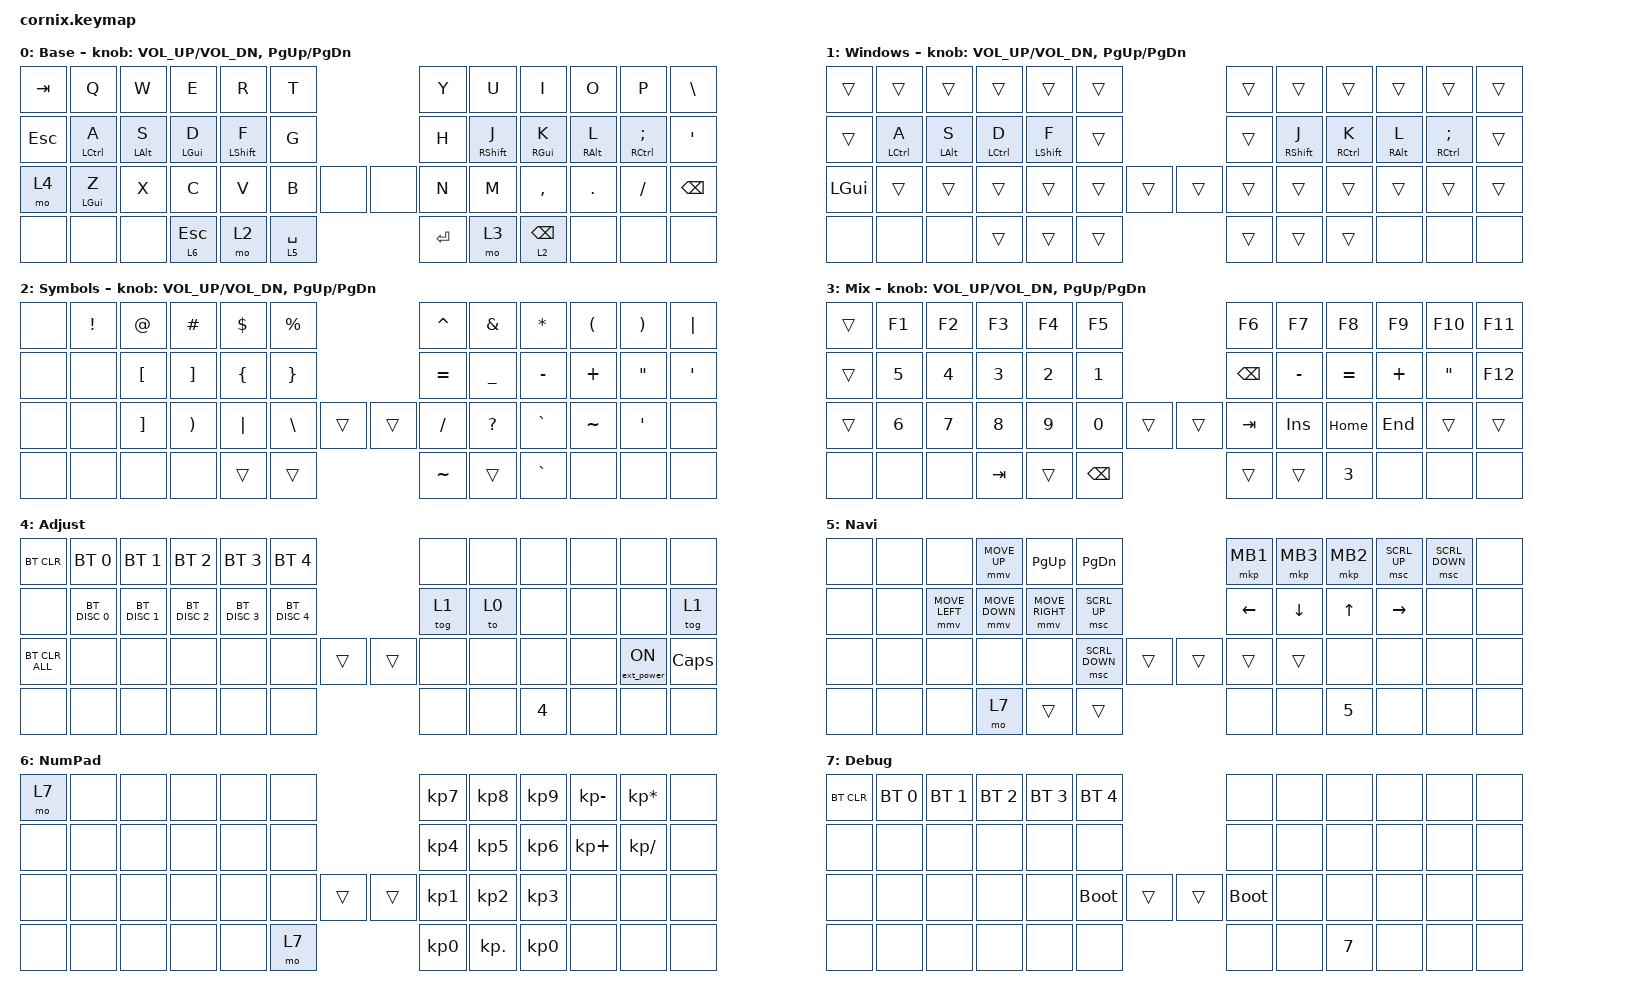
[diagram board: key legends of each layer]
/*
 * Copyright (c) 2020 The ZMK Contributors
 *
 * SPDX-License-Identifier: MIT
 */

#include "zmk-helpers/helper.h"
#include "includes/cornix54.h"
#include <behaviors.dtsi>
#include <dt-bindings/zmk/bt.h>
#include <dt-bindings/zmk/keys.h>
#include <dt-bindings/zmk/pointing.h>


// tap windows for ctl alt and gui

#define HM_TAPPING_TERM 250
#define HM_TAPPING_REPEAT 210

// quick tapping for shift

#define HM_TAPPING_TERM_FAST 200
#define HM_PRIOR_IDLE 70
#define BASE 0
#define WIN 1
#define LOWER 2
#define RAISE 3
#define ADJUST 4
#define NAVI   5
#define NUM    6
#define DEBUG  7

// https://github.com/urob/zmk-config/tree/main#timeless-homerow-mods

#define KEYS_L LT0 LT1 LT2 LT3 LT4 LT5 LM0 LM1 LM2 LM3 LM4 LM5 LB0 LB1 LB2 LB3 LB4 LB5  // left hand
#define KEYS_R RT0 RT1 RT2 RT3 RT4 RT5 RM0 RM1 RM2 RM3 RM4 RM5 RB0 RB1 RB2 RB3 RB4 RB5  // right hand
#define THUMBS LH1 LH0 RH0 RH1
#define KEYS_T LH1 LH0 RH0 RH1
#define ZMK_POINTING_DEFAULT_SCRL_VAL 15

#include <behaviors.dtsi>
#include <dt-bindings/zmk/bt.h>
#include <dt-bindings/zmk/ext_power.h>
#include <dt-bindings/zmk/keys.h>
#include <dt-bindings/zmk/pointing.h>

/ {
    // Activate ADJUST layer by pressing raise and lower

    behaviors {
        scroll_vertical: scroll_vertical {
            compatible = "zmk,behavior-sensor-rotate";
            #sensor-binding-cells = <0>;
            bindings = <&msc SCRL_UP>,
                       <&msc SCRL_DOWN>;
        };
        
        scroll_horizontal: scroll_horizontal {
            compatible = "zmk,behavior-sensor-rotate";
            #sensor-binding-cells = <0>;
            bindings = <&msc SCRL_RIGHT>,
                       <&msc SCRL_LEFT>;
        };

        hm_l: homerow_mods_left {
            compatible = "zmk,behavior-hold-tap";
            #binding-cells = <2>;
            bindings = <&kp>, <&kp>;

            flavor = "balanced";
            tapping-term-ms = <HM_TAPPING_TERM>;
            quick-tap-ms = <200>;                // repeat on tap-into-hold
            require-prior-idle-ms = <HM_PRIOR_IDLE>;
            hold-trigger-key-positions = <KEYS_R KEYS_T>;
            hold-trigger-on-release;
        };

        hm_r: homerow_mods_right {
            compatible = "zmk,behavior-hold-tap";
            #binding-cells = <2>;
            bindings = <&kp>, <&kp>;

            flavor = "balanced";
            tapping-term-ms = <HM_TAPPING_TERM>;
            quick-tap-ms = <200>;
            require-prior-idle-ms = <HM_PRIOR_IDLE>;
            hold-trigger-key-positions = <KEYS_L KEYS_T>;
            hold-trigger-on-release;
        };

        // Positional Homerow mods for shift
        // Use faster tapping term and disable some features that may
        // cause false negatives.

        hm_shift_l: hm_shift_l {
            compatible = "zmk,behavior-hold-tap";
            #binding-cells = <2>;
            bindings = <&kp>, <&kp>;

            //flavor = "balanced";

            flavor = "balanced";
            tapping-term-ms = <HM_TAPPING_TERM_FAST>;
            quick-tap-ms = <200>;
            require-prior-idle-ms = <HM_PRIOR_IDLE>;
            hold-trigger-key-positions = <KEYS_R KEYS_T>;
            hold-trigger-on-release;
        };

        hm_shift_r: hm_shift_r {
            compatible = "zmk,behavior-hold-tap";
            #binding-cells = <2>;
            bindings = <&kp>, <&kp>;

            flavor = "balanced";
            tapping-term-ms = <HM_TAPPING_TERM_FAST>;
            quick-tap-ms = <200>;
            require-prior-idle-ms = <HM_PRIOR_IDLE>;
            hold-trigger-key-positions = <KEYS_L KEYS_T>;

            // for quick tapping; shift+~

            hold-trigger-on-release;
        };

        /*
         * Non-Positional Homerow Mods
         * Used for &mm_grescm_gui behavior on left hand.
         *
         * Usage: &hm LSHFT T
         * Tap: T
         * Tap-Tap-Hold: Repeat T
         * Hold: LSHIFT
         */

        hm: homerow_mods {
            compatible = "zmk,behavior-hold-tap";
            #binding-cells = <2>;
            bindings = <&kp>, <&kp>;

            flavor = "balanced";
            tapping-term-ms = <HM_TAPPING_TERM>;
            quick-tap-ms = <200>;
        };

        lt: layer_tap {
            compatible = "zmk,behavior-hold-tap";
            #binding-cells = <2>;
            bindings = <&mo>, <&kp>;

            flavor = "hold-preferred";
            tapping-term-ms = <HM_TAPPING_TERM>;
            quick-tap-ms = <200>;
        };
    };

    conditional_layers {
        compatible = "zmk,conditional-layers";

        adjust_layer {
            if-layers = <3 2>;
            then-layer = <4>;
        };
    };

    combos {
        compatible = "zmk,combos";

       
        combo_tab_q_esc {
            timeout-ms = <30>;
            key-positions = <0 1>;
            bindings = <&kp ESC>;
            layers = <0>;
        };

        combo_p_bsp_del {
            timeout-ms = <30>;
            key-positions = <10 11>;
            bindings = <&kp DEL>;
            layers = <0>;
        };

        combo_z_x_undo {
            timeout-ms = <30>;
            key-positions = <25 26>;
            bindings = <&kp LC(Z)>;
            layers = <0>;
        };

        combo_x_c_copy {
            timeout-ms = <30>;
            key-positions = <26 27>;
            bindings = <&kp LC(C)>;
            layers = <0>;
        };

        combo_c_v_paste {
            timeout-ms = <30>;
            key-positions = <27 28>;
            bindings = <&kp LC(V)>;
            layers = <0>;
        };

         
        combo_home {
            timeout-ms = <30>;
            key-positions = <19 20>;
            bindings = <&kp HOME>;
            layers = <0>;
        };
        
        combo_end {
            timeout-ms = <30>;
            key-positions = <20 21>;
            bindings = <&kp END>;
            layers = <0>;
        };

       

        combo_semi_quote_pgup {
            timeout-ms = <30>;
            key-positions = <22 23>;
            bindings = <&kp PG_UP>;
            layers = <0>;
        };

        combo_slash_rshift_pgdn {
            timeout-ms = <30>;
            key-positions = <36 37>;
            bindings = <&kp PG_DN>;
            layers = <0>;
        };


        // . + / → Browser Back
        combo_dot_slash_back {
            timeout-ms = <30>;
            key-positions = <35 36>;
            bindings = <&mkp MB4>;
            layers = <0>;
        };

        // L + ; → Browser Forward
        combo_l_semi_forward {
            timeout-ms = <30>;
            key-positions = <21 22>;
            bindings = <&mkp MB5>;
            layers = <0>;
        };


    };

    keymap {
        compatible = "zmk,keymap";

        default_layer {
            display-name = "Base";

            // ------------------------------------------------------------------------------------------------------------
            // |   `   |  1  |  2  |  3   |  4   |  5   |                   |  6   |  7    |  8    |  9   |   0   |       |
            // |  ESC  |  Q  |  W  |  E   |  R   |  T   |                   |  Y   |  U    |  I    |  O   |   P   | BKSPC |
            // |  TAB  |  A  |  S  |  D   |  F   |  G   |                   |  H   |  J    |  K    |  L   |   ;   |   '   |
            // | SHIFT |  Z  |  X  |  C   |  V   |  B   |  MUTE  |  |       |  N   |  M    |  ,    |  .   |   /   | SHIFT |
            //               | GUI | ALT  | CTRL | LOWER|  ENTER |  | SPACE | RAISE| CTRL  | ALT   | GUI  |

            bindings = <
&kp TAB  &kp Q          &kp W         &kp E         &kp R                &kp T                      &kp Y      &kp U                &kp I            &kp O         &kp P             &kp BSLH
&kp ESC  &hm_l LCTRL A  &hm_l LALT S  &hm_l LGUI D  &hm_shift_l LSHFT F  &kp G                      &kp H      &hm_shift_r RSHFT J  &hm_r RGUI K     &hm_r RALT L  &hm_r RCTRL SEMI  &kp SQT
&mo 4    &hm_l LGUI Z   &kp X         &kp C         &kp V                &kp B        &none  &none  &kp N      &kp M                &kp COMMA        &kp DOT       &kp FSLH          &kp BACKSPACE
&none    &none          &none         &lt 6 ESCAPE  &mo 2                &lt 5 SPACE                &kp ENTER  &mo 3                &lt 2 BACKSPACE  &none         &none             &none
            >;
          sensor-bindings = <&inc_dec_kp C_VOL_UP C_VOL_DN &inc_dec_kp PG_UP PG_DN>;

        };

        win_layer {
            display-name = "Windows";

            // ------------------------------------------------------------------------------------------------------------
            // |   `   |  1  |  2  |  3   |  4   |  5   |                   |  6   |  7    |  8    |  9   |   0   |       |
            // |  ESC  |  Q  |  W  |  E   |  R   |  T   |                   |  Y   |  U    |  I    |  O   |   P   | BKSPC |
            // |  TAB  |  A  |  S  |  D   |  F   |  G   |                   |  H   |  J    |  K    |  L   |   ;   |   '   |
            // | SHIFT |  Z  |  X  |  C   |  V   |  B   |  MUTE  |  |       |  N   |  M    |  ,    |  .   |   /   | SHIFT |
            //               | GUI | ALT  | CTRL | LOWER|  ENTER |  | SPACE | RAISE| CTRL  | ALT   | GUI  |

            bindings = <
&trans    &trans         &trans        &trans         &trans               &trans                  &trans  &trans               &trans         &trans        &trans            &trans
&trans    &hm_l LCTRL A  &hm_l LALT S  &hm_l LCTRL D  &hm_shift_l LSHFT F  &trans                  &trans  &hm_shift_r RSHFT J  &hm_r RCTRL K  &hm_r RALT L  &hm_r RCTRL SEMI  &trans
&kp LGUI  &trans         &trans        &trans         &trans               &trans  &trans  &trans  &trans  &trans               &trans         &trans        &trans            &trans
&none     &none          &none         &trans         &trans               &trans                  &trans  &trans               &trans         &none         &none             &none
            >;
            sensor-bindings = <&inc_dec_kp C_VOL_UP C_VOL_DN &inc_dec_kp PG_UP PG_DN>;

        };

        Symbol_layer {
            display-name = "Symbols";

            // TODO: Some binds are waiting for shifted keycode support.
            // -------------------------------
            // |       |  F1 |  F2 |  F3  |  F4  |  F5  |                   |  F6  |  F7   |  F8   |  F9  |  F10  |  F11  |
            // |   `   |  1  |  2  |  3   |  4   |  5   |                   |  6   |  7    |  8    |  9   |   0   |  F12  |
            // |       |  !  |  @  |  #   |  $   |  %   |                   |  ^   |  &    |  *    |  (   |   )   |   |   |
            // |       |  =  |  -  |  +   |  {   |  }   |        |  |       |  [   |  ]    |  ;    |  :   |   \   |       |
            //               |     |      |      |      |        |  |       |      |       |       |      |

            bindings = <
&none  &kp EXCL  &kp AT    &kp HASH  &kp DLLR  &kp PRCNT                  &kp CARET  &kp AMPS      &kp ASTRK  &kp LPAR   &kp RPAR  &kp PIPE
&none  &none     &kp LBKT  &kp RBKT  &kp LBRC  &kp RBRC                   &kp EQUAL  &kp UNDER     &kp MINUS  &kp PLUS   &kp DQT   &kp SQT
&none  &none     &kp RBKT  &kp RPAR  &kp PIPE  &kp BSLH   &trans  &trans  &kp FSLH   &kp QUESTION  &kp GRAVE  &kp TILDE  &kp SQT   &none
&none  &none     &none     &none     &trans    &trans                     &kp TILDE  &trans        &kp GRAVE  &none      &none     &none
            >;
            sensor-bindings = <&inc_dec_kp C_VOL_UP C_VOL_DN &inc_dec_kp PG_UP PG_DN>;

        };

        Mix_layer {
            display-name = "Mix";

            // ------------------------------------------------------------------------------------------------------------
            // | BTCLR | BT1  | BT2  |  BT3  |  BT4  |  BT5 |                |      |      |       |      |       |       |
            // |       | INS  | PSCR | GUI   |       |      |                | PGUP |      |   ^   |      |       |       |
            // |       | ALT  | CTRL | SHIFT |       | CAPS |                | PGDN |   <- |   v   |  ->  |  DEL  | BKSPC |
            // |       | UNDO | CUT  | COPY  | PASTE |      |      |  |      |      |      |       |      |       |       |
            //                |      |       |       |      |      |  |      |      |      |       |      |

            bindings = <
&trans  &kp F1  &kp F2  &kp F3   &kp F4  &kp F5                         &kp F6    &kp F7     &kp F8     &kp F9    &kp F10  &kp F11
&trans  &kp N5  &kp N4  &kp N3   &kp N2  &kp N1                         &kp BSPC  &kp MINUS  &kp EQUAL  &kp PLUS  &kp DQT  &kp F12
&trans  &kp N6  &kp N7  &kp N8   &kp N9  &kp N0         &trans  &trans  &kp TAB   &kp INS    &kp HOME   &kp END   &trans   &trans
&none   &none   &none   &kp TAB  &trans  &kp BACKSPACE                  &trans    &trans     &kp N3     &none     &none    &none
            >;
            sensor-bindings = <&inc_dec_kp C_VOL_UP C_VOL_DN &inc_dec_kp PG_UP PG_DN>;

        };

        Adjust_layer {
            display-name = "Adjust";

            // ----------------------------------------------------------------------------------------------------------------------------
            // | BTCLR  |  BT1    |  BT2    |   BT3   |   BT4   |   BT5   |                  |      |      |       |      |       |       |
            // | moDEBUG| RGB_HUD | RGB_HUI | RGB_SAD | RGB_SAI | RGB_EFF |                  |      |      |       |      |       |       |
            // | EXTPWR | RGB_BRD | RGB_BRI |         |         |         |                  |      |      |       |      |       |       |
            // |        |         |         |         |         |         | RGB_TOG | |      |      |      |       |      |       |       |
            //                    |         |         |         |         |         | |      |      |      |       |      |

            bindings = <
&bt BT_CLR      &bt BT_SEL 0   &bt BT_SEL 1   &bt BT_SEL 2   &bt BT_SEL 3   &bt BT_SEL 4                   &none   &none  &none   &none  &none             &none
&none           &bt BT_DISC 0  &bt BT_DISC 1  &bt BT_DISC 2  &bt BT_DISC 3  &bt BT_DISC 4                  &tog 1  &to 0  &none   &none  &none             &tog 1
&bt BT_CLR_ALL  &none          &none          &none          &none          &none          &trans  &trans  &none   &none  &none   &none  &ext_power EP_ON  &kp CAPSLOCK
&none           &none          &none          &none          &none          &none                          &none   &none  &kp N4  &none  &none             &none
            >;
        };

        Navi_layer {
            display-name = "Navi";
            bindings = <
&none  &none  &none           &mmv MOVE_UP    &kp PAGE_UP      &kp PAGE_DOWN                   &mkp MB1  &mkp MB3  &mkp MB2  &msc SCRL_UP  &msc SCRL_DOWN  &none
&none  &none  &mmv MOVE_LEFT  &mmv MOVE_DOWN  &mmv MOVE_RIGHT  &msc SCRL_UP                    &kp LEFT  &kp DOWN  &kp UP    &kp RIGHT     &none           &none
&none  &none  &none           &none           &none            &msc SCRL_DOWN  &trans  &trans  &trans    &trans    &none     &none         &none           &none
&none  &none  &none           &mo 7           &trans           &trans                          &none     &none     &kp N5    &none         &none           &none
            >;
        };

        KeyPad_layer {
            display-name = "NumPad";
            bindings = <
&mo 7  &none  &none  &none  &none  &none                  &kp KP_N7        &kp KP_N8        &kp KP_N9        &kp KP_MINUS  &kp KP_MULTIPLY  &none
&none  &none  &none  &none  &none  &none                  &kp KP_NUMBER_4  &kp KP_NUMBER_5  &kp KP_N6        &kp KP_PLUS   &kp KP_DIVIDE    &none
&none  &none  &none  &none  &none  &none  &trans  &trans  &kp KP_NUMBER_1  &kp KP_NUMBER_2  &kp KP_N3        &none         &none            &none
&none  &none  &none  &none  &none  &mo 7                  &kp KP_N0        &kp KP_DOT       &kp KP_NUMBER_0  &none         &none            &none
            >;
        };

        Debug_layer {
            display-name = "Debug";

            // ----------------------------------------------------------------------------------------------------------------------------
            // | BTCLR  |  BT1    |  BT2    |   BT3   |   BT4   |   BT5   |                  |      |      |       |      |       |       |
            // | EXTPWR | BTCLR | RGB_HUI | RGB_SAD | RGB_SAI | RGB_EFF |                  |      |      |       |      |       |       |
            // |        | RGB_BRD | RGB_BRI |         |         |         |                  |      |      |       |      |       |       |
            // |        |         |         |         |         |         | RGB_TOG | |      |      |      |       |      |       |       |
            //                    |         |         |         |         |         | |      |      |      |       |      |

            bindings = <
&bt BT_CLR  &bt BT_SEL 0  &bt BT_SEL 1  &bt BT_SEL 2  &bt BT_SEL 3  &bt BT_SEL 4                  &none        &none  &none   &none  &none  &none
&none       &none         &none         &none         &none         &none                         &none        &none  &none   &none  &none  &none
&none       &none         &none         &none         &none         &bootloader   &trans  &trans  &bootloader  &none  &none   &none  &none  &none
&none       &none         &none         &none         &none         &none                         &none        &none  &kp N7  &none  &none  &none
            >;
        };
    };
};
